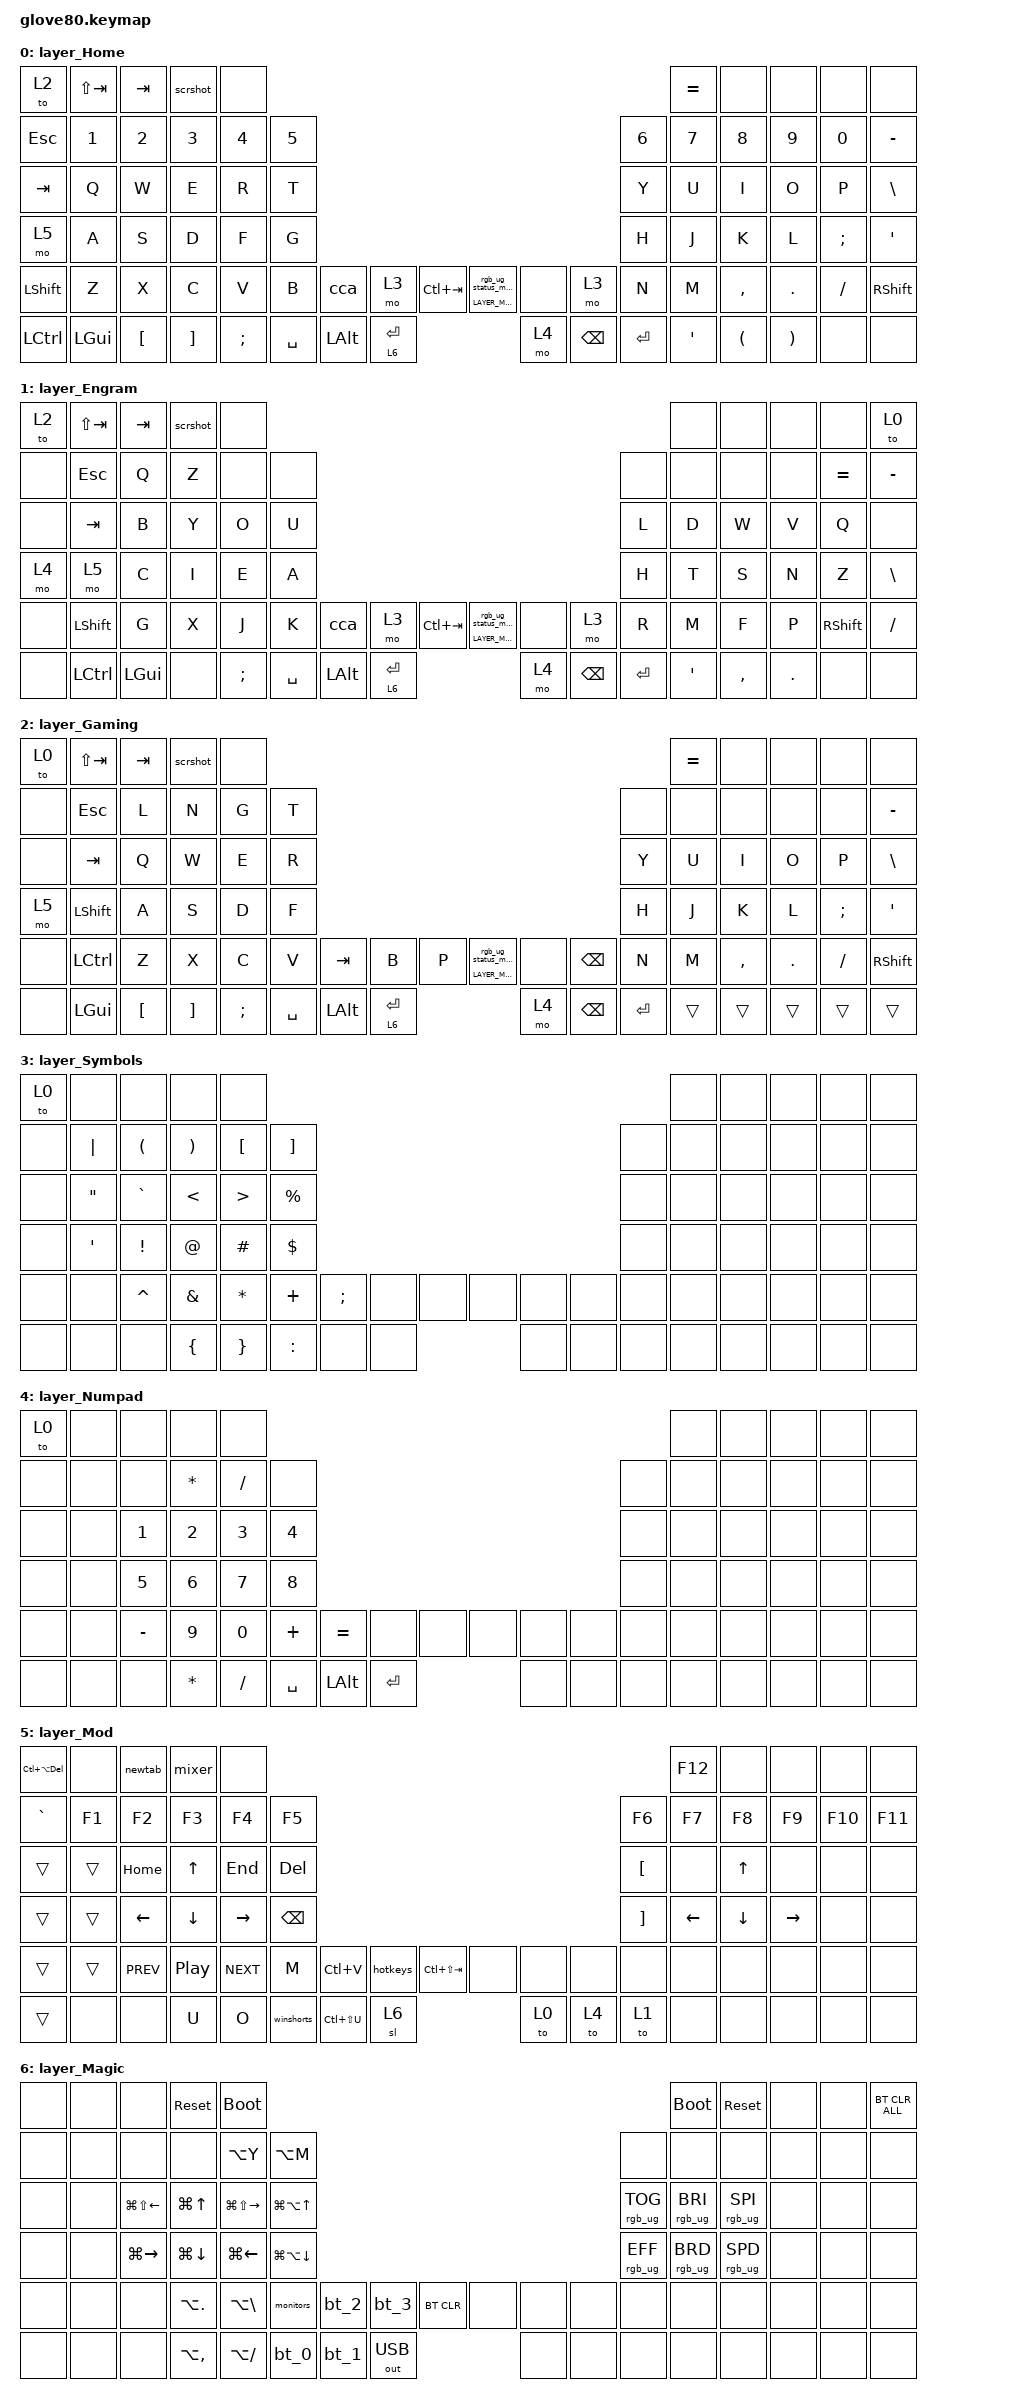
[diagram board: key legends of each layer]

/*
 * Copyright (c) 2020 The ZMK Contributors
 * Copyright (c) 2023 Innaworks Development Limited, trading as MoErgo
 *
 * SPDX-License-Identifier: MIT
 */


/* THIS FILE WAS GENERATED BY GLOVE80 LAYOUT EDITOR
 *
 * This file was generated automatically. You may or may not want to
 * edit it directly.
 */

#include <behaviors.dtsi>
/* Include all behavior includes needed */
#include <dt-bindings/zmk/outputs.h>
#include <dt-bindings/zmk/keys.h>
#include <dt-bindings/zmk/bt.h>
#include <dt-bindings/zmk/rgb.h>

/* Automatically generated layer name #define */
#define LAYER_Home 0
#define LAYER_Engram 1
#define LAYER_Gaming 2
#define LAYER_Symbols 3
#define LAYER_Numpad 4
#define LAYER_Mod 5
#define LAYER_Magic 6

/* To deal with the situation where there is no Lower layer, to keep &lower happy */
#ifndef LAYER_Lower
#define LAYER_Lower 0
#endif

/* Custom Device-tree */
#include <dt-bindings/zmk/rgb_colors.h>
/ {
    underglow-layer {
        compatible  = "zmk,underglow-layer";
        Home {
            bindings = <
                PURPLE PURPLE PURPLE PURPLE PURPLE                                                          PURPLE PURPLE PURPLE PURPLE PURPLE
                PURPLE PURPLE PURPLE PURPLE PURPLE PURPLE                                            PURPLE PURPLE PURPLE PURPLE PURPLE PURPLE
                PURPLE PURPLE PURPLE PURPLE PURPLE PURPLE                                            PURPLE PURPLE PURPLE PURPLE PURPLE PURPLE
                PURPLE PURPLE PURPLE PURPLE PURPLE PURPLE                                            PURPLE PURPLE PURPLE PURPLE PURPLE PURPLE
                PURPLE PURPLE PURPLE PURPLE PURPLE PURPLE PURPLE PURPLE PURPLE  PURPLE PURPLE PURPLE PURPLE PURPLE PURPLE PURPLE PURPLE PURPLE
                PURPLE PURPLE PURPLE PURPLE PURPLE        PURPLE PURPLE PURPLE  PURPLE PURPLE PURPLE        PURPLE PURPLE PURPLE PURPLE PURPLE
                >;
            layer-id = <LAYER_Home>;
        };
        Mod {
            bindings = <
                   RED    RED    RED    RED    RED                                                             RED    RED    RED    RED    RED
                   RED    RED    RED    RED    RED    RED                                               RED    RED    RED    RED    RED    RED
                   RED    RED    RED    RED    RED    RED                                               RED    RED    RED    RED    RED    RED
                   RED    RED    RED    RED    RED    RED                                               RED    RED    RED    RED    RED    RED
                   RED    RED    RED    RED    RED    RED    RED    RED    RED     RED    RED    RED    RED    RED    RED    RED    RED    RED
                   RED    RED    RED    RED    RED           RED    RED    RED     RED    RED    RED           RED    RED    RED    RED    RED
                >;
            layer-id = <LAYER_Mod>;
        };
        Gaming {
            bindings = <
                  TEAL   TEAL   TEAL   TEAL   TEAL                                                            TEAL   TEAL   TEAL   TEAL   TEAL
                  TEAL   TEAL   TEAL   TEAL   TEAL   TEAL                                              TEAL   TEAL   TEAL   TEAL   TEAL   TEAL
                  TEAL   TEAL   TEAL   TEAL   TEAL   TEAL                                              TEAL   TEAL   TEAL   TEAL   TEAL   TEAL
                  TEAL   TEAL   TEAL   TEAL   TEAL   TEAL                                              TEAL   TEAL   TEAL   TEAL   TEAL   TEAL
                  TEAL   TEAL   TEAL   TEAL   TEAL   TEAL   TEAL   TEAL   TEAL    TEAL   TEAL   TEAL   TEAL   TEAL   TEAL   TEAL   TEAL   TEAL
                  TEAL   TEAL   TEAL   TEAL   TEAL          TEAL   TEAL   TEAL    TEAL   TEAL   TEAL          TEAL   TEAL   TEAL   TEAL   TEAL
                >;
            layer-id = <LAYER_Gaming>;
        };
        Numpad {
            bindings = <
                  GOLD   GOLD   GOLD   GOLD   GOLD                                                            GOLD   GOLD   GOLD   GOLD   GOLD
                  GOLD   GOLD   GOLD   GOLD   GOLD   GOLD                                              GOLD   GOLD   GOLD   GOLD   GOLD   GOLD
                  GOLD   GOLD   GOLD   GOLD   GOLD   GOLD                                              GOLD   GOLD   GOLD   GOLD   GOLD   GOLD
                  GOLD   GOLD   GOLD   GOLD   GOLD   GOLD                                              GOLD   GOLD   GOLD   GOLD   GOLD   GOLD
                  GOLD   GOLD   GOLD   GOLD   GOLD   GOLD   GOLD   GOLD   GOLD    GOLD   GOLD   GOLD   GOLD   GOLD   GOLD   GOLD   GOLD   GOLD
                  GOLD   GOLD   GOLD   GOLD   GOLD          GOLD   GOLD   GOLD    GOLD   GOLD   GOLD          GOLD   GOLD   GOLD   GOLD   GOLD
                >;
            layer-id = <LAYER_Numpad>;
        };
        Engram {
            bindings = <
                 GREEN  GREEN  GREEN  GREEN  GREEN                                                           GREEN  GREEN  GREEN  GREEN  GREEN
                 GREEN  GREEN  GREEN  GREEN  GREEN  GREEN                                             GREEN  GREEN  GREEN  GREEN  GREEN  GREEN
                 GREEN  GREEN  GREEN  GREEN  GREEN  GREEN                                             GREEN  GREEN  GREEN  GREEN  GREEN  GREEN
                 GREEN  GREEN  GREEN  GREEN  GREEN  GREEN                                             GREEN  GREEN  GREEN  GREEN  GREEN  GREEN
                 GREEN  GREEN  GREEN  GREEN  GREEN  GREEN  GREEN  GREEN  GREEN   GREEN  GREEN  GREEN  GREEN  GREEN  GREEN  GREEN  GREEN  GREEN
                 GREEN  GREEN  GREEN  GREEN  GREEN         GREEN  GREEN  GREEN   GREEN  GREEN  GREEN         GREEN  GREEN  GREEN  GREEN  GREEN
                >;
            layer-id = <LAYER_Engram>;
        };
        Magic {
            bindings = <
                 WHITE  WHITE  WHITE    RED    RED                                                             RED    RED  WHITE  WHITE   BLUE
                 WHITE  WHITE  WHITE  WHITE  WHITE  WHITE                                             WHITE  WHITE  WHITE  WHITE  WHITE  WHITE
                 WHITE  WHITE  WHITE  WHITE  GREEN PURPLE                                            PURPLE  GREEN  WHITE  WHITE  WHITE  WHITE
                 WHITE  WHITE  WHITE  WHITE    RED  WHITE                                             WHITE    RED  WHITE  WHITE  WHITE  WHITE
                 WHITE  WHITE  WHITE  WHITE  WHITE  WHITE ORANGE ORANGE    RED   WHITE  WHITE  WHITE  WHITE  WHITE  WHITE  WHITE  WHITE  WHITE
                 WHITE  WHITE  WHITE  WHITE  WHITE        ORANGE ORANGE ORANGE   WHITE  WHITE  WHITE         WHITE  WHITE  WHITE  WHITE  WHITE
                >;
            layer-id = <LAYER_Magic>;
        };
    };
};


/* Glove80 system behavior & macros */
/ {
    behaviors {
        // For the "layer" key, it'd nice to be able to use it as either a shift or a toggle.
        // Configure it as a tap dance, so the first tap (or hold) is a &mo and the second tap is a &to
        lower: lower {
            compatible = "zmk,behavior-tap-dance";
            label = "LAYER_TAP_DANCE";
            #binding-cells = <0>;
            tapping-term-ms = <200>;
            bindings = <&mo LAYER_Lower>, <&to LAYER_Lower>;
        };
    };
};

/ {
    macros {
        rgb_ug_status_macro: rgb_ug_status_macro {
            label = "RGB_UG_STATUS";
            compatible = "zmk,behavior-macro";
            #binding-cells = <0>;
            bindings
                = <&rgb_ug RGB_STATUS>;
        };
    };
};


/ {
#ifdef BT_DISC_CMD
    behaviors {
        bt_0: bt_0 {
            compatible = "zmk,behavior-tap-dance";
            label = "BT_0";
            #binding-cells = <0>;
            tapping-term-ms = <200>;
            bindings = <&bt_select_0>, <&bt BT_DISC 0>;
        };
        bt_1: bt_1 {
            compatible = "zmk,behavior-tap-dance";
            label = "BT_1";
            #binding-cells = <0>;
            tapping-term-ms = <200>;
            bindings = <&bt_select_1>, <&bt BT_DISC 1>;
        };
        bt_2: bt_2 {
            compatible = "zmk,behavior-tap-dance";
            label = "BT_2";
            #binding-cells = <0>;
            tapping-term-ms = <200>;
            bindings = <&bt_select_2>, <&bt BT_DISC 2>;
        };
        bt_3: bt_3 {
            compatible = "zmk,behavior-tap-dance";
            label = "BT_3";
            #binding-cells = <0>;
            tapping-term-ms = <200>;
            bindings = <&bt_select_3>, <&bt BT_DISC 3>;
        };
    };
    macros {
        bt_select_0: bt_select_0 {
            label = "BT_SELECT_0";
            compatible = "zmk,behavior-macro";
            #binding-cells = <0>;
            bindings
                = <&out OUT_BLE>,
                  <&bt BT_SEL 0>;
        };
        bt_select_1: bt_select_1 {
            label = "BT_SELECT_1";
            compatible = "zmk,behavior-macro";
            #binding-cells = <0>;
            bindings
                = <&out OUT_BLE>,
                  <&bt BT_SEL 1>;
        };
        bt_select_2: bt_select_2 {
            label = "BT_SELECT_2";
            compatible = "zmk,behavior-macro";
            #binding-cells = <0>;
            bindings
                = <&out OUT_BLE>,
                  <&bt BT_SEL 2>;
        };
        bt_select_3: bt_select_3 {
            label = "BT_SELECT_3";
            compatible = "zmk,behavior-macro";
            #binding-cells = <0>;
            bindings
                = <&out OUT_BLE>,
                  <&bt BT_SEL 3>;
        };
    };
#else
    macros {
        bt_0: bt_0 {
            label = "BT_0";
            compatible = "zmk,behavior-macro";
            #binding-cells = <0>;
            bindings
                = <&out OUT_BLE>,
                  <&bt BT_SEL 0>;
        };
        bt_1: bt_1 {
            label = "BT_1";
            compatible = "zmk,behavior-macro";
            #binding-cells = <0>;
            bindings
                = <&out OUT_BLE>,
                  <&bt BT_SEL 1>;
        };
        bt_2: bt_2 {
            label = "BT_2";
            compatible = "zmk,behavior-macro";
            #binding-cells = <0>;
            bindings
                = <&out OUT_BLE>,
                  <&bt BT_SEL 2>;
        };
        bt_3: bt_3 {
            label = "BT_3";
            compatible = "zmk,behavior-macro";
            #binding-cells = <0>;
            bindings
                = <&out OUT_BLE>,
                  <&bt BT_SEL 3>;
        };
    };
#endif
};

/ {
    behaviors {
        magic: magic {
            compatible = "zmk,behavior-hold-tap";
            label = "MAGIC_HOLD_TAP";
            #binding-cells = <2>;
            flavor = "tap-preferred";
            tapping-term-ms = <200>;
            bindings = <&mo>, <&rgb_ug_status_macro>;
        };
    };
};

/* #define for key positions */
#define POS_LH_T1 52
#define POS_LH_T2 53
#define POS_LH_T3 54
#define POS_LH_T4 69
#define POS_LH_T5 70
#define POS_LH_T6 71
#define POS_LH_C1R2 15
#define POS_LH_C1R3 27
#define POS_LH_C1R4 39
#define POS_LH_C1R5 51
#define POS_LH_C2R1 4
#define POS_LH_C2R2 14
#define POS_LH_C2R3 26
#define POS_LH_C2R4 38
#define POS_LH_C2R5 50
#define POS_LH_C2R6 68
#define POS_LH_C3R1 3
#define POS_LH_C3R2 13
#define POS_LH_C3R3 25
#define POS_LH_C3R4 37
#define POS_LH_C3R5 49
#define POS_LH_C3R6 67
#define POS_LH_C4R1 2
#define POS_LH_C4R2 12
#define POS_LH_C4R3 24
#define POS_LH_C4R4 36
#define POS_LH_C4R5 48
#define POS_LH_C4R6 66
#define POS_LH_C5R1 1
#define POS_LH_C5R2 11
#define POS_LH_C5R3 23
#define POS_LH_C5R4 35
#define POS_LH_C5R5 47
#define POS_LH_C5R6 65
#define POS_LH_C6R1 0
#define POS_LH_C6R2 10
#define POS_LH_C6R3 22
#define POS_LH_C6R4 34
#define POS_LH_C6R5 46
#define POS_LH_C6R6 64
#define POS_RH_T1 57
#define POS_RH_T2 56
#define POS_RH_T3 55
#define POS_RH_T4 74
#define POS_RH_T5 73
#define POS_RH_T6 72
#define POS_RH_C1R2 16
#define POS_RH_C1R3 28
#define POS_RH_C1R4 40
#define POS_RH_C1R5 58
#define POS_RH_C2R1 5
#define POS_RH_C2R2 17
#define POS_RH_C2R3 29
#define POS_RH_C2R4 41
#define POS_RH_C2R5 59
#define POS_RH_C2R6 75
#define POS_RH_C3R1 6
#define POS_RH_C3R2 18
#define POS_RH_C3R3 30
#define POS_RH_C3R4 42
#define POS_RH_C3R5 60
#define POS_RH_C3R6 76
#define POS_RH_C4R1 7
#define POS_RH_C4R2 19
#define POS_RH_C4R3 31
#define POS_RH_C4R4 43
#define POS_RH_C4R5 61
#define POS_RH_C4R6 77
#define POS_RH_C5R1 8
#define POS_RH_C5R2 20
#define POS_RH_C5R3 32
#define POS_RH_C5R4 44
#define POS_RH_C5R5 62
#define POS_RH_C5R6 78
#define POS_RH_C6R1 9
#define POS_RH_C6R2 21
#define POS_RH_C6R3 33
#define POS_RH_C6R4 45
#define POS_RH_C6R5 63
#define POS_RH_C6R6 79

/* Custom Defined Behaviors */
/ {
    #define _UNDO       LC(Z)
    #define _ALL        LC(A)
    #define _CUT        LC(X)
    #define _COPY       LC(C)
    #define _PASTE      LC(V)
    #define _REDO       LC(Y)
    #define _SAVE       LC(S)
    #define _ALTSAVE    LA(S)
    #define _MEDIAOUT   LA(M)
    #define _MEDIAUP    LA(BSLH)
    #define _MEDIADO    LA(FSLH)
    #define _GAMEOUT    LA(Y)
    #define _GAMEUP     LA(DOT)
    #define _GAMEDO     LA(COMMA)
    #define _NEWTAB     LC(T)
    #define _NEXTTAB    LC(TAB)
    #define _PREVTAB    LC(LS(TAB))
    #define _PRIVTAB    LC(LS(N))
    #define _AUTOFILL   LC(LS(U))
    #define _4MONITOR   LA(LS(UP))
    #define _3MONITOR   LA(LS(RIGHT))
    #define _2MONITOR   LA(LS(DOWN))
    #define _MONITORR   LG(LS(RIGHT))
    #define _MONITORL   LG(LS(LEFT))
    #define _WINDOWR    LG(LEFT)
    #define _WINDOWL    LG(RIGHT)
    #define _WINDOWMAX  LG(UP)
    #define _WINDOWMIN  LG(DOWN)
    #define _WINDOWU    LG(LA(UP))
    #define _WINDOWD    LG(LA(DOWN))
    
    behaviors {
        winshorts: winshorts {
            compatible = "zmk,behavior-tap-dance";
            #binding-cells = <0>;
            tapping-term-ms = <200>;
            bindings = <&kp LC(F10)>, <&kp LC(F11)>;
        };    
        scrshot: scrshot {
            compatible = "zmk,behavior-tap-dance";
            #binding-cells = <0>;
            tapping-term-ms = <200>;
            bindings = <&kp LC(PSCRN)>, <&kp LA(PSCRN)>, <&kp LC(LS(PSCRN))>;
        };
        hotkeys: hotkeys {
            compatible = "zmk,behavior-tap-dance";
            #binding-cells = <0>;
            tapping-term-ms = <200>;
            bindings = <&kp LC(F9)>, <&kp LC(F8)>;
        };
        newtab: newtab {
            compatible = "zmk,behavior-tap-dance";
            #binding-cells = <0>;
            tapping-term-ms = <200>;
            bindings = <&kp _NEWTAB>, <&kp _PRIVTAB>;
        };
        mixer: mixer {
            compatible = "zmk,behavior-tap-dance";
            #binding-cells = <0>;
            tapping-term-ms = <200>;
            bindings = <&kp LC(LS(UP))>, <&kp LC(LS(DOWN))>;
        };
        cca: cca {
            compatible = "zmk,behavior-tap-dance";
            #binding-cells = <0>;
            tapping-term-ms = <200>;
            bindings = <&mt _ALL _COPY>, <&kp _CUT>;
        }; 
        monitors: monitors {
            compatible = "zmk,behavior-tap-dance";
            #binding-cells = <0>;
            tapping-term-ms = <200>;
            bindings = <&kp _4MONITOR>, <&kp _2MONITOR>, <&kp _3MONITOR>;
        };
    };
};

/* Automatically generated macro definitions */
/ {
    macros {
    
    };
};

/* Automatically generated keymap */
/ {
    keymap {
        compatible = "zmk,keymap";


        layer_Home {
            bindings = <
     &to 2  &kp LS(TAB)   &kp TAB  &scrshot     &none                                                                                              &kp EQUAL      &none     &none     &none      &none
   &kp ESC       &kp N1    &kp N2    &kp N3    &kp N4  &kp N5                                                                              &kp N6     &kp N7     &kp N8    &kp N9    &kp N0  &kp MINUS
   &kp TAB        &kp Q     &kp W     &kp E     &kp R   &kp T                                                                               &kp Y      &kp U      &kp I     &kp O     &kp P   &kp BSLH
     &mo 5        &kp A     &kp S     &kp D     &kp F   &kp G                                                                               &kp H      &kp J      &kp K     &kp L  &kp SEMI    &kp SQT
 &kp LSHFT        &kp Z     &kp X     &kp C     &kp V   &kp B       &cca     &mo 3  &kp _NEXTTAB  &magic LAYER_Magic 0     &none    &mo 3   &kp N      &kp M  &kp COMMA   &kp DOT  &kp FSLH  &kp RSHFT
 &kp LCTRL     &kp LGUI  &kp LBKT  &kp RBKT  &kp SEMI          &kp SPACE  &kp LALT     &lt 6 RET                 &mo 4  &kp BSPC  &kp RET            &kp SQT   &kp LPAR  &kp RPAR     &none      &none
            >;
        };

        layer_Engram {
            bindings = <
  &to 2  &kp LS(TAB)   &kp TAB  &scrshot     &none                                                                                                &none      &none    &none      &none      &to 0
  &none      &kp ESC     &kp Q     &kp Z     &none   &none                                                                               &none    &none      &none    &none  &kp EQUAL  &kp MINUS
  &none      &kp TAB     &kp B     &kp Y     &kp O   &kp U                                                                               &kp L    &kp D      &kp W    &kp V      &kp Q      &none
  &mo 4        &mo 5     &kp C     &kp I     &kp E   &kp A                                                                               &kp H    &kp T      &kp S    &kp N      &kp Z   &kp BSLH
  &none    &kp LSHFT     &kp G     &kp X     &kp J   &kp K       &cca     &mo 3  &kp _NEXTTAB  &magic LAYER_Magic 0     &none    &mo 3   &kp R    &kp M      &kp F    &kp P  &kp RSHFT   &kp FSLH
  &none    &kp LCTRL  &kp LGUI     &none  &kp SEMI          &kp SPACE  &kp LALT     &lt 6 RET                 &mo 4  &kp BSPC  &kp RET          &kp SQT  &kp COMMA  &kp DOT      &none      &none
            >;
        };

        layer_Gaming {
            bindings = <
  &to 0  &kp LS(TAB)   &kp TAB  &scrshot     &none                                                                                            &kp EQUAL      &none    &none     &none      &none
  &none      &kp ESC     &kp L     &kp N     &kp G   &kp T                                                                             &none      &none      &none    &none     &none  &kp MINUS
  &none      &kp TAB     &kp Q     &kp W     &kp E   &kp R                                                                             &kp Y      &kp U      &kp I    &kp O     &kp P   &kp BSLH
  &mo 5    &kp LSHFT     &kp A     &kp S     &kp D   &kp F                                                                             &kp H      &kp J      &kp K    &kp L  &kp SEMI    &kp SQT
  &none    &kp LCTRL     &kp Z     &kp X     &kp C   &kp V    &kp TAB     &kp B      &kp P  &magic LAYER_Magic 0     &none  &kp BSPC   &kp N      &kp M  &kp COMMA  &kp DOT  &kp FSLH  &kp RSHFT
  &none     &kp LGUI  &kp LBKT  &kp RBKT  &kp SEMI          &kp SPACE  &kp LALT  &lt 6 RET                 &mo 4  &kp BSPC   &kp RET             &trans     &trans   &trans    &trans     &trans
            >;
        };

        layer_Symbols {
            bindings = <
  &to 0     &none      &none     &none     &none                                                                         &none   &none   &none   &none   &none
  &none  &kp PIPE   &kp LPAR  &kp RPAR  &kp LBKT   &kp RBKT                                                      &none   &none   &none   &none   &none   &none
  &none   &kp DQT  &kp GRAVE    &kp LT    &kp GT  &kp PRCNT                                                      &none   &none   &none   &none   &none   &none
  &none   &kp SQT   &kp EXCL    &kp AT  &kp HASH   &kp DLLR                                                      &none   &none   &none   &none   &none   &none
  &none     &none  &kp CARET  &kp AMPS  &kp STAR   &kp PLUS   &kp SEMI   &none   &none   &none   &none   &none   &none   &none   &none   &none   &none   &none
  &none     &none      &none  &kp LBRC  &kp RBRC             &kp COLON   &none   &none   &none   &none   &none           &none   &none   &none   &none   &none
            >;
        };

        layer_Numpad {
            bindings = <
  &to 0   &none      &none     &none     &none                                                                           &none   &none   &none   &none   &none
  &none   &none      &none  &kp STAR  &kp FSLH     &none                                                         &none   &none   &none   &none   &none   &none
  &none   &none     &kp N1    &kp N2    &kp N3    &kp N4                                                         &none   &none   &none   &none   &none   &none
  &none   &none     &kp N5    &kp N6    &kp N7    &kp N8                                                         &none   &none   &none   &none   &none   &none
  &none   &none  &kp MINUS    &kp N9    &kp N0  &kp PLUS  &kp EQUAL     &none    &none   &none   &none   &none   &none   &none   &none   &none   &none   &none
  &none   &none      &none  &kp STAR  &kp FSLH            &kp SPACE  &kp LALT  &kp RET   &none   &none   &none           &none   &none   &none   &none   &none
            >;
        };

        layer_Mod {
            bindings = <
 &kp LC(LA(DEL))   &none         &newtab          &mixer            &none                                                                                        &kp F12     &none      &none    &none    &none
       &kp GRAVE  &kp F1          &kp F2          &kp F3           &kp F4    &kp F5                                                                     &kp F6    &kp F7    &kp F8     &kp F9  &kp F10  &kp F11
          &trans  &trans        &kp HOME    &kp UP_ARROW          &kp END   &kp DEL                                                                   &kp LBKT     &none    &kp UP      &none    &none    &none
          &trans  &trans  &kp LEFT_ARROW  &kp DOWN_ARROW  &kp RIGHT_ARROW  &kp BSPC                                                                   &kp RBKT  &kp LEFT  &kp DOWN  &kp RIGHT    &none    &none
          &trans  &trans      &kp C_PREV        &kp C_PP       &kp C_NEXT     &kp M  &kp _PASTE       &hotkeys  &kp _PREVTAB   &none   &none   &none     &none     &none     &none      &none    &none    &none
          &trans   &none           &none           &kp U            &kp O            &winshorts  &kp _AUTOFILL         &sl 6   &to 0   &to 4   &to 1               &none     &none      &none    &none    &none
            >;
        };

        layer_Magic {
            bindings = <
  &none   &none          &none      &sys_reset    &bootloader                                                                                            &bootloader       &sys_reset   &none   &none  &bt BT_CLR_ALL
  &none   &none          &none           &none   &kp _GAMEOUT  &kp _MEDIAOUT                                                                  &none            &none            &none   &none   &none           &none
  &none   &none  &kp _MONITORL  &kp _WINDOWMAX  &kp _MONITORR   &kp _WINDOWU                                                        &rgb_ug RGB_TOG  &rgb_ug RGB_BRI  &rgb_ug RGB_SPI   &none   &none           &none
  &none   &none   &kp _WINDOWL  &kp _WINDOWMIN   &kp _WINDOWR   &kp _WINDOWD                                                        &rgb_ug RGB_EFF  &rgb_ug RGB_BRD  &rgb_ug RGB_SPD   &none   &none           &none
  &none   &none          &none     &kp _GAMEUP   &kp _MEDIAUP      &monitors   &bt_2   &bt_3    &bt BT_CLR   &none   &none   &none            &none            &none            &none   &none   &none           &none
  &none   &none          &none     &kp _GAMEDO   &kp _MEDIADO                  &bt_0   &bt_1  &out OUT_USB   &none   &none   &none                             &none            &none   &none   &none           &none
            >;
        };

    };
};
